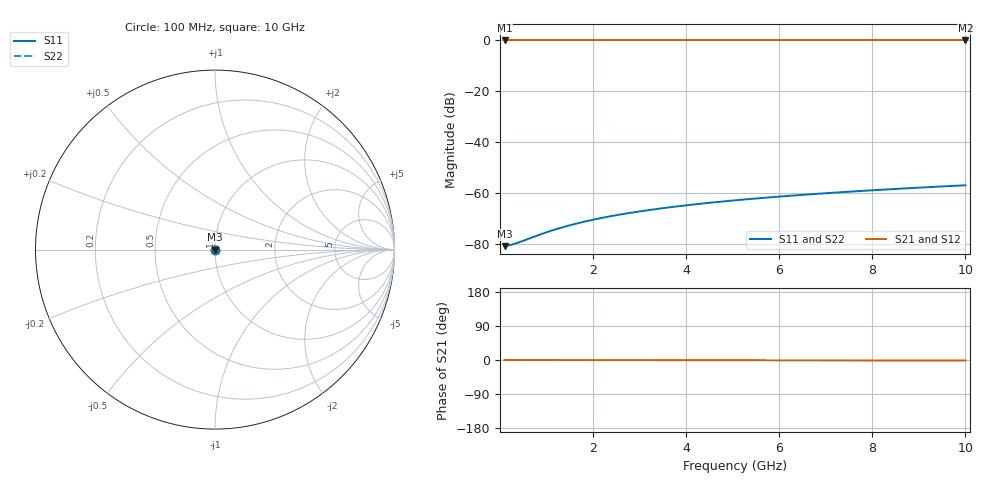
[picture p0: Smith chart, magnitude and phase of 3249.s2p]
# Hz S RI R 50.00
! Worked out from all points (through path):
!   100 points, 100 MHz to 10 GHz, reference 50 ohm
!   highest |S21| = 0.00 dB at 100 MHz (marker M1); lowest = 0.0 dB at 10 GHz (marker M2)
!   lowest |S11| = -81.0 dB at 100 MHz (marker M3), VSWR 1.00, Z = 50 + j0.0014 ohm
!   |S11| at or under -10 dB: start of sweep to end of sweep
!   |S22| runs from -81.0 to -57.1 dB; largest |S21 - S12| = 0
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1e8  8.75e-05 1.4e-05  0.9999 -0.000242  0.9999 -0.000242  8.75e-05 1.4e-05
3e8  8.84e-05 4.2e-05  0.9999 -0.000725  0.9999 -0.000725  8.84e-05 4.2e-05
4e8  8.86e-05 5.61e-05  0.9999 -0.000966  0.9999 -0.000966  8.86e-05 5.61e-05
8e8  8.94e-05 0.000112  0.9999 -0.00193  0.9999 -0.00193  8.94e-05 0.000112
1.1e9  8.99e-05 0.000154  0.9999 -0.00266  0.9999 -0.00266  8.99e-05 0.000154
1.4e9  9.03e-05 0.000196  0.9999 -0.00338  0.9999 -0.00338  9.03e-05 0.000196
1.6e9  9.06e-05 0.000224  0.9999 -0.00387  0.9999 -0.00387  9.06e-05 0.000224
1.8e9  9.09e-05 0.000252  0.9999 -0.00435  0.9999 -0.00435  9.09e-05 0.000252
2.1e9  9.14e-05 0.000293  0.9999 -0.00508  0.9999 -0.00508  9.14e-05 0.000293
2.5e9  9.21e-05 0.000349  0.9999 -0.00605  0.9999 -0.00605  9.21e-05 0.000349
2.9e9  9.29e-05 0.000405  0.9999 -0.00702  0.9999 -0.00702  9.29e-05 0.000405
3.4e9  9.4e-05 0.000474  0.9999 -0.00823  0.9999 -0.00823  9.4e-05 0.000474
3.8e9  9.5e-05 0.000529  0.9999 -0.0092  0.9999 -0.0092  9.5e-05 0.000529
4.2e9  9.61e-05 0.000585  0.9998 -0.0102  0.9998 -0.0102  9.61e-05 0.000585
4.6e9  9.73e-05 0.00064  0.9998 -0.0111  0.9998 -0.0111  9.73e-05 0.00064
5.1e9  9.89e-05 0.000709  0.9998 -0.0124  0.9998 -0.0124  9.89e-05 0.000709
5.9e9  0.000102 0.00082  0.9998 -0.0143  0.9998 -0.0143  0.000102 0.00082
6.7e9  0.000105 0.000931  0.9998 -0.0163  0.9998 -0.0163  0.000105 0.000931
7.5e9  0.000109 0.00104  0.9997 -0.0182  0.9997 -0.0182  0.000109 0.00104
8.4e9  0.000114 0.00117  0.9997 -0.0204  0.9997 -0.0204  0.000114 0.00117
9.2e9  0.000119 0.00128  0.9996 -0.0224  0.9996 -0.0224  0.000119 0.00128
1e10  0.000124 0.0014  0.9996 -0.0243  0.9996 -0.0243  0.000124 0.0014
